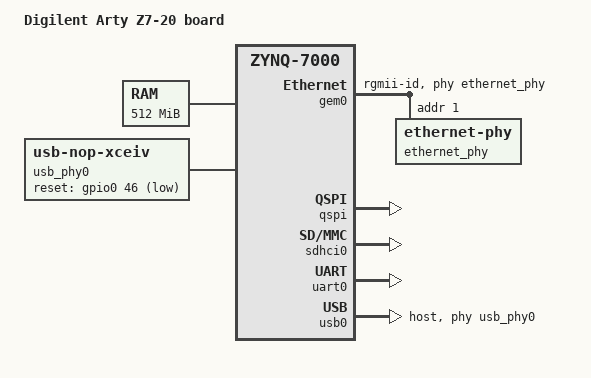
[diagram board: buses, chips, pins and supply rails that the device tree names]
// SPDX-License-Identifier: GPL-2.0+
/*
 * Digilent Arty Z7-20 board (Zynq-7000 xc7z020, 512 MB DDR3)
 *
 * Copyright (C) 2016 Digilent
 *
 * Derived from Digilent's zynq-artyz7.dts (u-boot-digilent 3b9fb209) and the
 * Petalinux-Arty-Z7-20 BSP system-user.dtsi, restructured after the mainline
 * zynq-zybo-z7.dts.
 *
 * Keep in sync with the U-Boot control dts added by
 * recipes-bsp/u-boot/u-boot-xlnx/0001-arm-dts-add-zynq-arty-z7-20.patch:
 * the fixed local-mac-address and the PHY address must match.
 */
/dts-v1/;
#include "zynq-7000.dtsi"
#include <dt-bindings/gpio/gpio.h>

/ {
	model = "Digilent Arty Z7-20 board";
	compatible = "digilent,zynq-artyz7", "xlnx,zynq-7000";

	aliases {
		ethernet0 = &gem0;
		serial0 = &uart0;
		spi0 = &qspi;
		mmc0 = &sdhci0;
	};

	memory@0 {
		device_type = "memory";
		reg = <0x0 0x20000000>;
	};

	chosen {
		stdout-path = "serial0:115200n8";
	};

	usb_phy0: phy0 {
		#phy-cells = <0>;
		compatible = "usb-nop-xceiv";
		reset-gpios = <&gpio0 46 GPIO_ACTIVE_LOW>;
	};
};

&clkc {
	ps-clk-frequency = <50000000>;
};

&gem0 {
	status = "okay";
	phy-mode = "rgmii-id";
	phy-handle = <&ethernet_phy>;
	/* No factory MAC on the board: fixed locally administered address */
	local-mac-address = [02 44 5a 37 32 30];

	ethernet_phy: ethernet-phy@1 { /* RTL8211E or F, board-revision dependent */
		reg = <1>;
	};
};

&qspi {
	status = "okay";
};

&sdhci0 {
	status = "okay";
};

&uart0 {
	status = "okay";
};

&usb0 {
	status = "okay";
	dr_mode = "host";
	usb-phy = <&usb_phy0>;
};
